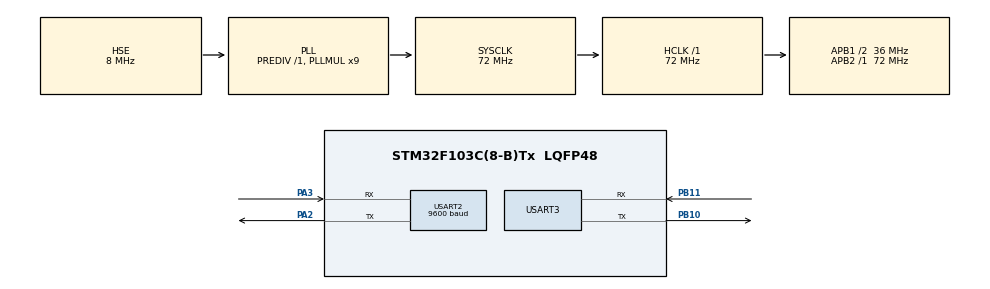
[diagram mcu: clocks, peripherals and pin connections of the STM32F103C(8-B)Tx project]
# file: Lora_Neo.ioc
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Mcu.Family=STM32F1
Mcu.Name=STM32F103C(8-B)Tx
Mcu.Package=LQFP48
NVIC.PriorityGroup=NVIC_PRIORITYGROUP_4
NVIC.USART2_IRQn=true\:0\:0\:false\:false\:true\:true\:true\:true
PA13.Mode=Serial_Wire
PA13.Signal=SYS_JTMS-SWDIO
PA14.Mode=Serial_Wire
PA14.Signal=SYS_JTCK-SWCLK
PA2.Mode=Asynchronous
PA2.Signal=USART2_TX
PA3.Mode=Asynchronous
PA3.Signal=USART2_RX
PB10.Mode=Asynchronous
PB10.Signal=USART3_TX
PB11.Mode=Asynchronous
PB11.Signal=USART3_RX
PD0-OSC_IN.Mode=HSE-External-Oscillator
PD0-OSC_IN.Signal=RCC_OSC_IN
PD1-OSC_OUT.Mode=HSE-External-Oscillator
PD1-OSC_OUT.Signal=RCC_OSC_OUT
ProjectManager.HeapSize=0x200
ProjectManager.StackSize=0x400
ProjectManager.TargetToolchain=STM32CubeIDE
RCC.AHBFreq_Value=72000000
RCC.APB1CLKDivider=RCC_HCLK_DIV2
RCC.APB1Freq_Value=36000000
RCC.APB1TimFreq_Value=72000000
RCC.APB2Freq_Value=72000000
RCC.APB2TimFreq_Value=72000000
RCC.HCLKFreq_Value=72000000
RCC.PLLMUL=RCC_PLL_MUL9
RCC.PLLSourceVirtual=RCC_PLLSOURCE_HSE
RCC.SYSCLKFreq_VALUE=72000000
RCC.SYSCLKSource=RCC_SYSCLKSOURCE_PLLCLK
RCC.USBFreq_Value=72000000
USART2.BaudRate=9600
USART2.VirtualMode=VM_ASYNC
USART3.VirtualMode=VM_ASYNC
board=custom

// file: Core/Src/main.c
/* USER CODE BEGIN Header */
/**
  ******************************************************************************
  * @file           : main.c
  * @brief          : Main program body
  ******************************************************************************
  * @attention
  *
  * Copyright (c) 2025 STMicroelectronics.
  * All rights reserved.
  *
  * This software is licensed under terms that can be found in the LICENSE file
  * in the root directory of this software component.
  * If no LICENSE file comes with this software, it is provided AS-IS.
  *
  ******************************************************************************
  */
/* USER CODE END Header */
#include "main.h"

/* USER CODE BEGIN Includes */
#include "lwgps/lwgps.h"
/* USER CODE END Includes */
#include <string.h>
#include <stdio.h>

UART_HandleTypeDef huart2;
UART_HandleTypeDef huart3;

void SystemClock_Config(void);
static void MX_GPIO_Init(void);
static void MX_USART2_UART_Init(void);
static void MX_USART3_UART_Init(void);

/* USER CODE BEGIN 0 */
lwgps_t gps;

uint8_t rx_buffer[128];
uint8_t rx_index = 0;
uint8_t rx_data = 0;

void HAL_UART_RxCpltCallback(UART_HandleTypeDef *huart)
{
	if(huart == &huart2){
		HAL_UART_Receive_IT(&huart2, &rx_data, 1);

		if(rx_data != '\n' && rx_index < sizeof(rx_buffer)){
			rx_buffer[rx_index++] = rx_data;
		}
		else{
			lwgps_process(&gps, rx_buffer, rx_index+1);
			rx_index = 0;
			rx_data = 0;
		}

	}

}
void print_gps_data(void) {

	char buffer[100];
	uint16_t len;

	uint8_t hedef_adres_h = 0x00;
	uint8_t hedef_adres_l = 0x02;
	uint8_t kanal = 0x17;

    if (gps.is_valid) {
        len = sprintf(buffer, "T: %d-%d-%d,E: %f, B: %f\r\n",
                      gps.year, gps.month, gps.date,
                      gps.latitude, gps.longitude);

        uint8_t paket[3 + len];
        paket[0] = hedef_adres_h;
        paket[1] = hedef_adres_l;
        paket[2] = kanal;
        memcpy(&paket[3], buffer, len);

        HAL_UART_Transmit(&huart3, paket, 3 + len , HAL_MAX_DELAY);
    }
}

/* USER CODE END 0 */

int main(void)
{

  /* MCU Configuration--------------------------------------------------------*/

  /* Reset of all peripherals, Initializes the Flash interface and the Systick. */
  HAL_Init();

  /* Configure the system clock */
  SystemClock_Config();

  /* Initialize all configured peripherals */
  MX_GPIO_Init();
  MX_USART2_UART_Init();
  MX_USART3_UART_Init();
  /* USER CODE BEGIN 2 */

  uint8_t setRate5Hz[] = {
      0xB5, 0x62,
      0x06, 0x08,
      0x06, 0x00,
      0xC8, 0x00,   // 200 ms = 5 Hz
      0x01, 0x00,   // navRate = 1
      0x01, 0x00,   // timeRef = GPS time
      0xDE, 0x6A    // Checksum
  };

  HAL_Delay(1000);
  HAL_UART_Transmit(&huart2, setRate5Hz, sizeof(setRate5Hz), HAL_MAX_DELAY);
  HAL_Delay(1000);
  lwgps_init(&gps);

  HAL_UART_Receive_IT(&huart2, &rx_data, 1);

  /* USER CODE END 2 */

  /* Infinite loop */
  /* USER CODE BEGIN WHILE */
  while (1)
  {
	      print_gps_data();
	      HAL_Delay(400);

    /* USER CODE END WHILE */

  }
}

void SystemClock_Config(void)
{
  RCC_OscInitTypeDef RCC_OscInitStruct = {0};
  RCC_ClkInitTypeDef RCC_ClkInitStruct = {0};

  /** Initializes the RCC Oscillators according to the specified parameters
  * in the RCC_OscInitTypeDef structure.
  */
  RCC_OscInitStruct.OscillatorType = RCC_OSCILLATORTYPE_HSE;
  RCC_OscInitStruct.HSEState = RCC_HSE_ON;
  RCC_OscInitStruct.HSEPredivValue = RCC_HSE_PREDIV_DIV1;
  RCC_OscInitStruct.HSIState = RCC_HSI_ON;
  RCC_OscInitStruct.PLL.PLLState = RCC_PLL_ON;
  RCC_OscInitStruct.PLL.PLLSource = RCC_PLLSOURCE_HSE;
  RCC_OscInitStruct.PLL.PLLMUL = RCC_PLL_MUL9;
  if (HAL_RCC_OscConfig(&RCC_OscInitStruct) != HAL_OK)
  {
    Error_Handler();
  }

  /** Initializes the CPU, AHB and APB buses clocks
  */
  RCC_ClkInitStruct.ClockType = RCC_CLOCKTYPE_HCLK|RCC_CLOCKTYPE_SYSCLK
                              |RCC_CLOCKTYPE_PCLK1|RCC_CLOCKTYPE_PCLK2;
  RCC_ClkInitStruct.SYSCLKSource = RCC_SYSCLKSOURCE_PLLCLK;
  RCC_ClkInitStruct.AHBCLKDivider = RCC_SYSCLK_DIV1;
  RCC_ClkInitStruct.APB1CLKDivider = RCC_HCLK_DIV2;
  RCC_ClkInitStruct.APB2CLKDivider = RCC_HCLK_DIV1;

  if (HAL_RCC_ClockConfig(&RCC_ClkInitStruct, FLASH_LATENCY_2) != HAL_OK)
  {
    Error_Handler();
  }
}

static void MX_USART2_UART_Init(void)
{

  huart2.Instance = USART2;
  huart2.Init.BaudRate = 9600;
  huart2.Init.WordLength = UART_WORDLENGTH_8B;
  huart2.Init.StopBits = UART_STOPBITS_1;
  huart2.Init.Parity = UART_PARITY_NONE;
  huart2.Init.Mode = UART_MODE_TX_RX;
  huart2.Init.HwFlowCtl = UART_HWCONTROL_NONE;
  huart2.Init.OverSampling = UART_OVERSAMPLING_16;
  if (HAL_UART_Init(&huart2) != HAL_OK)
  {
    Error_Handler();
  }

}

static void MX_USART3_UART_Init(void)
{

  huart3.Instance = USART3;
  huart3.Init.BaudRate = 115200;
  huart3.Init.WordLength = UART_WORDLENGTH_8B;
  huart3.Init.StopBits = UART_STOPBITS_1;
  huart3.Init.Parity = UART_PARITY_NONE;
  huart3.Init.Mode = UART_MODE_TX_RX;
  huart3.Init.HwFlowCtl = UART_HWCONTROL_NONE;
  huart3.Init.OverSampling = UART_OVERSAMPLING_16;
  if (HAL_UART_Init(&huart3) != HAL_OK)
  {
    Error_Handler();
  }

}

static void MX_GPIO_Init(void)
{

  /* GPIO Ports Clock Enable */
  __HAL_RCC_GPIOD_CLK_ENABLE();
  __HAL_RCC_GPIOA_CLK_ENABLE();
  __HAL_RCC_GPIOB_CLK_ENABLE();

}

void Error_Handler(void)
{
  __disable_irq();
  while (1)
  {
  }
}
